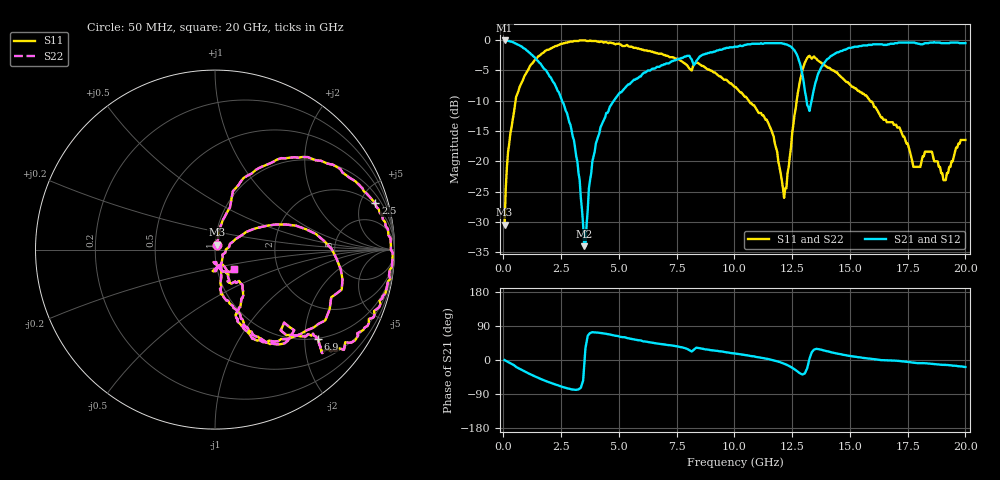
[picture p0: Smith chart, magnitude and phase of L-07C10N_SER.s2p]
#	mhz	s	ma	r	50
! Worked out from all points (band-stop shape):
!   400 points, 50 MHz to 20 GHz, reference 50 ohm
!   highest |S21| = -0.09 dB at 50 MHz (marker M1); lowest = -34.0 dB at 3.5 GHz (marker M2)
!   |S21| within 3 dB of the highest: 8.427 GHz to 12.77 GHz (4.341 GHz wide, 41 % of centre); 14.05 GHz to end of sweep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
!   lowest |S11| = -30.5 dB at 50 MHz (marker M3), VSWR 1.06, Z = 50.9 + j2.88 ohm
!   |S11| at or under -10 dB: start of sweep to 527.2 MHz; 10.62 GHz to 12.7 GHz (2.078 GHz wide, 17.8 % of centre); 15.87 GHz to end of sweep
!   |S22| runs from -30.5 to -0.1 dB; largest |S21 - S12| = 0
!   S11 on the Smith chart (normalised r, x): 50 MHz: 1.02, +0.06; 2.5 GHz: 1.74, +6.63; 6.9 GHz: 0.98, -2.31; 20 GHz: 1.20, -0.26
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50  0.03 70.6  0.99 -0.3  0.99 -0.3  0.03 70.6
200  0.12 76.9  0.98 -5.2  0.98 -5.2  0.12 76.9
550  0.34 73.0  0.93 -18.5  0.93 -18.5  0.34 73.0
1500  0.73 44.9  0.67 -46.9  0.67 -46.9  0.73 44.9
2500  0.93 16.1  0.33 -70.0  0.33 -70.0  0.93 16.1
3050  0.98 3.7  0.15 -78.5  0.15 -78.5  0.98 3.7
3400  0.99 -2.9  0.04 -63.8  0.04 -63.8  0.99 -2.9
3500  0.99 -4.8  0.02 -11.5  0.02 -11.5  0.99 -4.8
3850  0.98 -11.2  0.1 73.3  0.1 73.3  0.98 -11.2
4450  0.96 -23.2  0.25 68.9  0.25 68.9  0.96 -23.2
6700  0.77 -41.5  0.6 43.1  0.6 43.1  0.77 -41.5
6900  0.76 -41.1  0.62 41.5  0.62 41.5  0.76 -41.1
10050  0.41 -69.4  0.88 16.8  0.88 16.8  0.41 -69.4
11500  0.2 -80.7  0.94 1.9  0.94 1.9  0.2 -80.7
12150  0.05 -33.1  0.93 -9.8  0.93 -9.8  0.05 -33.1
12850  0.47 16.5  0.63 -35.6  0.63 -35.6  0.47 16.5
13150  0.71 -9.1  0.29 -21.8  0.29 -21.8  0.71 -9.1
13350  0.7 -22.3  0.32 20.8  0.32 20.8  0.7 -22.3
14150  0.58 -62.7  0.73 20.9  0.73 20.9  0.58 -62.7
16700  0.21 -60.5  0.92 -0.9  0.92 -0.9  0.21 -60.5
19050  0.07 -96.4  0.94 -12.8  0.94 -12.8  0.07 -96.4
20000  0.15 -45.7  0.94 -18.4  0.94 -18.4  0.15 -45.7
